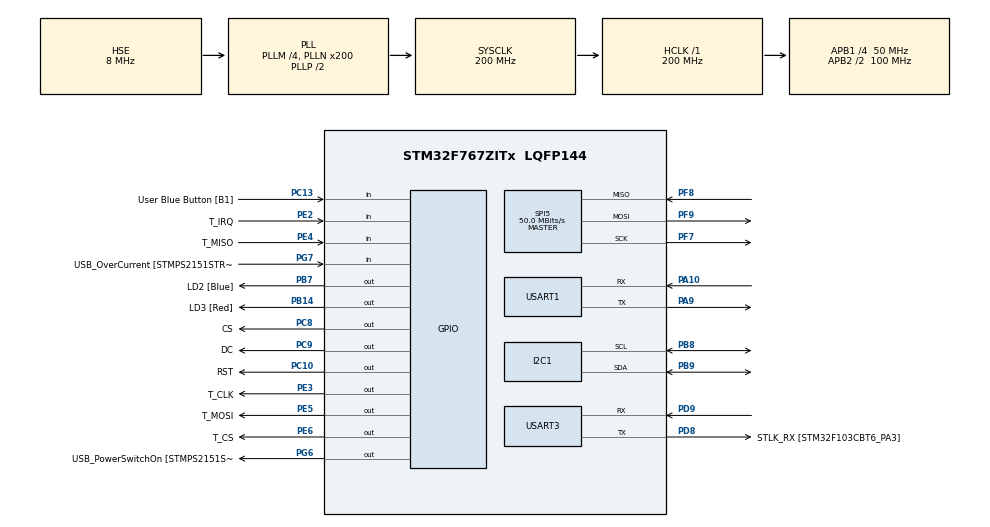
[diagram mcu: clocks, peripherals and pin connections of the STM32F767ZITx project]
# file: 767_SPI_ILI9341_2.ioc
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CORTEX_M7.ART_ACCLERATOR_ENABLE=1
CORTEX_M7.CPU_DCache=Enabled
CORTEX_M7.CPU_ICache=Enabled
CORTEX_M7.PREFETCH_ENABLE=1
I2C1.Timing=0x00C0EAFF
Mcu.Family=STM32F7
Mcu.Name=STM32F767ZITx
Mcu.Package=LQFP144
NVIC.PriorityGroup=NVIC_PRIORITYGROUP_4
NVIC.TIM3_IRQn=true\:0\:0\:true\:false\:true\:true\:true\:true
PA1.GPIO_Label=RMII_REF_CLK [LAN8742A-CZ-TR_REFCLK0]
PA1.Signal=ETH_REF_CLK
PA10.Mode=Asynchronous
PA10.Signal=USART1_RX
PA13.GPIO_Label=TMS
PA13.Mode=Serial_Wire
PA13.Signal=SYS_JTMS-SWDIO
PA14.GPIO_Label=TCK
PA14.Mode=Serial_Wire
PA14.Signal=SYS_JTCK-SWCLK
PA2.GPIO_Label=RMII_MDIO [LAN8742A-CZ-TR_MDIO]
PA2.Signal=ETH_MDIO
PA7.GPIO_Label=RMII_CRS_DV [LAN8742A-CZ-TR_CRS_DV]
PA7.Signal=ETH_CRS_DV
PA9.Mode=Asynchronous
PA9.Signal=USART1_TX
PB13.GPIO_Label=RMII_TXD1 [LAN8742A-CZ-TR_TXD1]
PB13.Signal=ETH_TXD1
PB14.GPIO_Label=LD3 [Red]
PB14.Signal=GPIO_Output
PB3.GPIO_Label=SWO
PB3.Signal=SYS_JTDO-SWO
PB4.Signal=S_TIM3_CH1
PB7.GPIO_Label=LD2 [Blue]
PB7.Signal=GPIO_Output
PB8.Mode=I2C
PB8.Signal=I2C1_SCL
PB9.Mode=I2C
PB9.Signal=I2C1_SDA
PC1.GPIO_Label=RMII_MDC [LAN8742A-CZ-TR_MDC]
PC1.Signal=ETH_MDC
PC10.GPIO_Label=RST
PC10.GPIO_Speed=GPIO_SPEED_FREQ_VERY_HIGH
PC10.Signal=GPIO_Output
PC13.GPIO_Label=User Blue Button [B1]
PC13.Signal=GPIO_Input
PC14/OSC32_IN.Mode=LSE-External-Oscillator
PC14/OSC32_IN.Signal=RCC_OSC32_IN
PC15/OSC32_OUT.Mode=LSE-External-Oscillator
PC15/OSC32_OUT.Signal=RCC_OSC32_OUT
PC4.GPIO_Label=RMII_RXD0 [LAN8742A-CZ-TR_RXD0]
PC4.Signal=ETH_RXD0
PC5.GPIO_Label=RMII_RXD1 [LAN8742A-CZ-TR_RXD1]
PC5.Signal=ETH_RXD1
PC8.GPIO_Label=CS
PC8.GPIO_Speed=GPIO_SPEED_FREQ_VERY_HIGH
PC8.Signal=GPIO_Output
PC9.GPIO_Label=DC
PC9.GPIO_Speed=GPIO_SPEED_FREQ_VERY_HIGH
PC9.Signal=GPIO_Output
PD0.Signal=UART4_RX
PD1.Signal=UART4_TX
PD8.GPIO_Label=STLK_RX [STM32F103CBT6_PA3]
PD8.Mode=Asynchronous
PD8.Signal=USART3_TX
PD9.Mode=Asynchronous
PD9.Signal=USART3_RX
PE2.GPIO_Label=T_IRQ
PE2.Signal=GPIO_Input
PE3.GPIO_Label=T_CLK
PE3.GPIO_Speed=GPIO_SPEED_FREQ_VERY_HIGH
PE3.Signal=GPIO_Output
PE4.GPIO_Label=T_MISO
PE4.Signal=GPIO_Input
PE5.GPIO_Label=T_MOSI
PE5.GPIO_Speed=GPIO_SPEED_FREQ_VERY_HIGH
PE5.Signal=GPIO_Output
PE6.GPIO_Label=T_CS
PE6.GPIO_Speed=GPIO_SPEED_FREQ_VERY_HIGH
PE6.Signal=GPIO_Output
PF7.Mode=Full_Duplex_Master
PF7.Signal=SPI5_SCK
PF8.Mode=Full_Duplex_Master
PF8.Signal=SPI5_MISO
PF9.Mode=Full_Duplex_Master
PF9.Signal=SPI5_MOSI
PG11.GPIO_Label=RMII_TX_EN [LAN8742A-CZ-TR_TXEN]
PG11.Signal=ETH_TX_EN
PG13.GPIO_Label=RMII_TXD0 [LAN8742A-CZ-TR_TXD0]
PG13.Signal=ETH_TXD0
PG6.GPIO_Label=USB_PowerSwitchOn [STMPS2151STR_EN]
PG6.Signal=GPIO_Output
PG7.GPIO_Label=USB_OverCurrent [STMPS2151STR_FAULT]
PG7.Signal=GPIO_Input
PH0/OSC_IN.GPIO_Label=MCO [STM32F103CBT6_PA8]
PH0/OSC_IN.Mode=HSE-External-Clock-Source
PH0/OSC_IN.Signal=RCC_OSC_IN
PH1/OSC_OUT.Mode=HSE-External-Clock-Source
PH1/OSC_OUT.Signal=RCC_OSC_OUT
ProjectManager.HeapSize=0x200
ProjectManager.StackSize=0x400
ProjectManager.TargetToolchain=STM32CubeIDE
RCC.48MHZClocksFreq_Value=24000000
RCC.AHBFreq_Value=200000000
RCC.APB1CLKDivider=RCC_HCLK_DIV4
RCC.APB1Freq_Value=50000000
RCC.APB1TimFreq_Value=100000000
RCC.APB2CLKDivider=RCC_HCLK_DIV2
RCC.APB2Freq_Value=100000000
RCC.APB2TimFreq_Value=200000000
RCC.CortexFreq_Value=200000000
RCC.HCLKFreq_Value=200000000
RCC.HSE_VALUE=8000000
RCC.HSI_VALUE=16000000
RCC.PLLM=4
RCC.PLLMUL=RCC_PLL_MUL9
RCC.PLLN=200
RCC.PLLQ=9
RCC.PLLSourceVirtual=RCC_PLLSOURCE_HSE
RCC.PRESCALERUSB=RCC_USBCLKSOURCE_PLL_DIV1_5
RCC.SYSCLKFreq_VALUE=200000000
RCC.SYSCLKSource=RCC_SYSCLKSOURCE_PLLCLK
RCC.SYSCLKSourceVirtual=RCC_SYSCLKSOURCE_PLLCLK
RCC.USBFreq_Value=44444444.44444445
RCC.VCOOutputFreq_Value=400000000
SH.S_TIM3_CH1.0=TIM3_CH1
SPI5.CalculateBaudRate=50.0 MBits/s
SPI5.DataSize=SPI_DATASIZE_8BIT
SPI5.Direction=SPI_DIRECTION_2LINES
SPI5.Mode=SPI_MODE_MASTER
SPI5.NSSPMode=SPI_NSS_PULSE_DISABLE
SPI5.VirtualType=VM_MASTER
TIM1.ClockDivision=TIM_CLOCKDIVISION_DIV2
TIM1.Period=0
TIM1.Prescaler=10000-1
TIM2.Period=60000
TIM2.Prescaler=7200
TIM3.Period=60000
TIM3.Prescaler=7200
USART1.VirtualMode-Asynchronous=VM_ASYNC
USART3.VirtualMode-Asynchronous=VM_ASYNC
VP_RNG_VS_RNG.Mode=RNG_Activate
VP_TIM1_VS_ClockSourceINT.Mode=Internal
VP_TIM2_VS_ClockSourceINT.Mode=Internal
VP_TIM3_VS_ClockSourceINT.Mode=Internal
board=NUCLEO-F767ZI

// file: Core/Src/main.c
/* USER CODE BEGIN Header */
/**
 ******************************************************************************
 * @file           : main.c
 * @brief          : Main program body
 ******************************************************************************
 * @attention
 *
 * Copyright (c) 2024 STMicroelectronics.
 * All rights reserved.
 *
 * This software is licensed under terms that can be found in the LICENSE file
 * in the root directory of this software component.
 * If no LICENSE file comes with this software, it is provided AS-IS.
 *
 ******************************************************************************
 */
/* USER CODE END Header */
#include "main.h"
#include "i2c.h"
#include "rng.h"
#include "spi.h"
#include "tim.h"
#include "usart.h"
#include "gpio.h"

/* USER CODE BEGIN Includes */
#include "stdio.h"
#include "string.h"
#include "ILI9341_Touchscreen.h"
#include "am2030.h"
#include "ILI9341_STM32_Driver.h"
#include "ILI9341_GFX.h"

#include "group.h"
/* USER CODE END Includes */

/* USER CODE BEGIN PV */
uint8_t redVal = 0;
uint8_t greenVal = 0;
uint8_t blueVal = 0;
uint8_t redDecimal = 0;
uint8_t blueDecimal = 0;
uint8_t greenDecimal = 0;
uint8_t someVal = 0;
uint16_t h = 0; //color up to chart
char someValToString[50] = "";
char redPercent[50] = "";
char greenPercent[50] = "";
char bluePercent[50] = "";
uint16_t result = 0;
char resultHex[100] = "";
uint8_t onPage = 0;
uint8_t isRenderImage = 0;
uint8_t step = 0;
HAL_StatusTypeDef status;

/* Private variables ---------------------------------------------------------*/

/* USER CODE END PV */

void SystemClock_Config(void);
/* USER CODE BEGIN PFP */
/* Private function prototypes -----------------------------------------------*/

uint16_t CRC16_2(uint8_t *ptr, uint8_t length) {
	uint16_t crc = 0xFFFF;
	uint8_t s = 0x00;
	while (length--) {
		crc ^= *ptr++;
		for (s = 0; s < 8; s++) {
			if ((crc & 0x01) != 0) {
				crc >>= 1;
				crc ^= 0xA001;
			} else
				crc >>= 1;
		}
	}

	return crc;
}
/* USER CODE END PFP */

/* USER CODE BEGIN 0 */
uint16_t rgb888_to_rgb565(uint8_t red8, uint8_t green8, uint8_t blue8) {
// Convert 8-bit red to 5-bit red.
	uint8_t red5 = (uint8_t) ((red8 / 255.0) * 31);
// Convert 8-bit green to 6-bit green.
	uint8_t green6 = (uint8_t) ((green8 / 255.0) * 63);
// Convert 8-bit blue to 5-bit blue.
	uint8_t blue5 = (uint8_t) ((blue8 / 255.0) * 31);

// Shift the red value to the left by 11 bits.
	uint16_t red5_shifted = (uint16_t) (red5) << 11;
// Shift the green value to the left by 5 bits.
	uint16_t green6_shifted = (uint16_t) (green6) << 5;

// Combine the red, green, and blue values.
	uint16_t rgb565 = red5_shifted | green6_shifted | blue5;

	return rgb565;
}

void vprint(const char *fmt, va_list argp) {
	char string[200];
	if (0 < vsprintf(string, fmt, argp)) // build string
			{
		HAL_UART_Transmit(&huart3, (uint8_t*) string, strlen(string), 0xffffff); // send message via UART
	}
}

void my_printf(const char *fmt, ...) // custom printf() function
{
	va_list argp;
	va_start(argp, fmt);
	vprint(fmt, argp);
	va_end(argp);
}
/* USER CODE END 0 */

int main(void) {
	/* USER CODE BEGIN 1 */
	char str[100];
	uint8_t cmdBuffer[3];
	uint8_t dataBuffer[8];
	char humidVal[100];
	char tempVal[100];
	/* USER CODE END 1 */
	/* Enable the CPU Cache */

	/* Enable I-Cache---------------------------------------------------------*/
	SCB_EnableICache();

	/* Enable D-Cache---------------------------------------------------------*/
	SCB_EnableDCache();

	/* MCU Configuration--------------------------------------------------------*/

	/* Reset of all peripherals, Initializes the Flash interface and the Systick. */
	HAL_Init();

	/* Configure the system clock */
	SystemClock_Config();

	/* Initialize all configured peripherals */
	MX_GPIO_Init();
	MX_SPI5_Init();
	MX_TIM1_Init();
	MX_RNG_Init();
	MX_TIM2_Init();
	MX_TIM3_Init();
	MX_I2C1_Init();
	MX_USART3_UART_Init();
	MX_USART1_UART_Init();
	/* USER CODE BEGIN 2 */
	cmdBuffer[0] = 0x03;
	cmdBuffer[1] = 0x00;
	cmdBuffer[2] = 0x04;

	ILI9341_Init(); //initial driver setup to drive ili9341
	Am2320_HandleTypeDef Am2320_;
	Am2320_ = am2320_Init(&hi2c1,  0x01 << 1);
	float temperature, humidity;
	/* USER CODE END 2 */

	/* Infinite loop */
	while (1) {

		/* USER CODE BEGIN 3 */
		//Send Temp & Humid via UART2
		//Wake up sensor

		if (onPage == 0) {
			ILI9341_Fill_Screen(WHITE);
			onPage = 2;
		}
		am2320_GetTemperatureAndHumidity(&Am2320_, &temperature, &humidity);
		ILI9341_Set_Rotation(SCREEN_HORIZONTAL_1);
		sprintf(tempVal, "%.1f C", temperature);
		sprintf(humidVal, "%.1f%%RH", humidity);
		ILI9341_Draw_Text(tempVal, 30, 30, BLACK, 2, WHITE);
		ILI9341_Draw_Text(humidVal, 180, 30, BLACK, 2, WHITE);
		ILI9341_Draw_Filled_Circle(160, 30, 15, h); // x , y , r ,color
		ILI9341_Draw_Filled_Circle(30, 80, 15, 0XF800);
		ILI9341_Draw_Rectangle(50, 70, 100, 20, 0XF81F); //x , y , lx, ly ,color
		if (redVal <= 10) {
			ILI9341_Draw_Rectangle(50, 70, redVal * 10, 20, 0XF800); //x , y , lx, ly ,color
			sprintf(redPercent, "%d%%    ", redVal * 10);
			ILI9341_Draw_Text(redPercent, 180, 70, BLACK, 2, WHITE);

		}
		////////////////////////////////////green///////////////////////////////////
		ILI9341_Draw_Filled_Circle(30, 130, 15, 0X07E0);
		ILI9341_Draw_Rectangle(50, 120, 100, 20, 0XC618); //x , y , lx, ly ,color
		if (greenVal <= 10) {
			ILI9341_Draw_Rectangle(50, 120, greenVal * 10, 20, 0X07E0);	//x , y , lx, ly ,color
			sprintf(greenPercent, "%d%%    ", greenVal * 10);
			ILI9341_Draw_Text(greenPercent, 180, 120, BLACK, 2, WHITE);

		}
		////////////////////////////////////blue///////////////////////////////////
		ILI9341_Draw_Filled_Circle(30, 180, 15, 0X001F);
		ILI9341_Draw_Rectangle(50, 170, 100, 20, 0X07FF);//x , y , lx, ly ,color
		if (blueVal <= 10) {
			ILI9341_Draw_Rectangle(50, 170, blueVal * 10, 20, 0X001F);//x , y , lx, ly ,color
			sprintf(bluePercent, "%d%%    ", blueVal * 10);
			ILI9341_Draw_Text(bluePercent, 180, 170, BLACK, 2, WHITE);
			sprintf(someValToString, "%d", blueDecimal);

		}

		result = rgb888_to_rgb565(redDecimal, greenDecimal, blueDecimal);
		sprintf(resultHex, "0X%04X", result);
		ILI9341_Draw_Text(resultHex, 180, 210, BLACK, 2, WHITE);
		sscanf(resultHex, "%x", &h);
		ILI9341_Set_Rotation(SCREEN_HORIZONTAL_1);
		ILI9341_Set_Rotation(SCREEN_VERTICAL_1);
		if (TP_Touchpad_Pressed()) {

			uint16_t x_pos = 0;
			uint16_t y_pos = 0;

			HAL_GPIO_WritePin(GPIOB, LD3_Pin | LD2_Pin, GPIO_PIN_SET);

			uint16_t position_array[2];

			if (TP_Read_Coordinates(position_array) == TOUCHPAD_DATA_OK) {
				x_pos = position_array[0];
				y_pos = position_array[1];
				if ((x_pos >= 146 && x_pos <= 170)
						&& (y_pos >= 6 && y_pos <= 34))	//RedCheck
						{
					redVal += 1;
					redDecimal += 25;
					if (redVal == 11) {
						redVal = 0;
						redDecimal = 0;
					}
				} else if ((x_pos >= 90 && x_pos <= 119)
						&& (y_pos >= 9 && y_pos <= 60))	//GreenCheck
						{
					greenVal += 1;
					greenDecimal += 25;
					if (greenVal == 11) {
						greenVal = 0;
						greenDecimal = 0;
					}
				} else if ((x_pos >= 44 && x_pos <= 69)
						&& (y_pos >= 9 && y_pos <= 42))	//GreenCheck
						{
					blueVal += 1;
					blueDecimal += 25;
					if (blueVal == 11) {
						blueVal = 0;
						blueDecimal = 0;
					}
				} else if ((x_pos >= 200 && x_pos <= 231)
						&& (y_pos >= 145 && y_pos <= 176))	//Center Top
						{
					isRenderImage = 0;
					onPage = 1;
				}
				ILI9341_Draw_Filled_Circle(x_pos, y_pos, 2, BLACK);
				ILI9341_Set_Rotation(SCREEN_HORIZONTAL_1);
				ILI9341_Set_Rotation(SCREEN_VERTICAL_1);
			}

		} else {
			HAL_GPIO_WritePin(GPIOB, LD3_Pin | LD2_Pin, GPIO_PIN_RESET);
		}
		while (onPage == 1) {
			if (isRenderImage == 0) {
				HAL_TIM_Base_Start_IT(&htim3);
				ILI9341_Fill_Screen(WHITE);
				ILI9341_Draw_Image((const char*) image_data_Image,
				SCREEN_HORIZONTAL_1);
				isRenderImage = 1;

			}
			ILI9341_Set_Rotation(SCREEN_HORIZONTAL_1);
			ILI9341_Draw_Text("Group No.19", 135, 40, h, 2, WHITE);
			ILI9341_Draw_Text("Arin 1063", 135, 80, h, 2, WHITE);
			ILI9341_Draw_Text("Peet 1052", 135, 120, h, 2, WHITE);
			ILI9341_Draw_Text("pond 1050", 135, 160, h, 2, WHITE);
			ILI9341_Set_Rotation(SCREEN_HORIZONTAL_1);
			if (TP_Touchpad_Pressed()) {

				uint16_t x_pos = 0;
				uint16_t y_pos = 0;
				uint16_t position_array[2];
				if (TP_Read_Coordinates(position_array) == TOUCHPAD_DATA_OK) {
					x_pos = position_array[0];
					y_pos = position_array[1];
					if ((x_pos >= 83 && x_pos <= 178)
							&& (y_pos >= 8 && y_pos <= 99))	//IMG check
							{
						onPage = 0;
					}

				}
			}
		}
		HAL_TIM_Base_Stop_IT(&htim3);
	}
	/* USER CODE END 3 */
}

void SystemClock_Config(void) {
	RCC_OscInitTypeDef RCC_OscInitStruct = { 0 };
	RCC_ClkInitTypeDef RCC_ClkInitStruct = { 0 };

	/** Configure LSE Drive Capability
	 */
	HAL_PWR_EnableBkUpAccess();

	/** Configure the main internal regulator output voltage
	 */
	__HAL_RCC_PWR_CLK_ENABLE();
	__HAL_PWR_VOLTAGESCALING_CONFIG(PWR_REGULATOR_VOLTAGE_SCALE1);

	/** Initializes the RCC Oscillators according to the specified parameters
	 * in the RCC_OscInitTypeDef structure.
	 */
	RCC_OscInitStruct.OscillatorType = RCC_OSCILLATORTYPE_HSE;
	RCC_OscInitStruct.HSEState = RCC_HSE_BYPASS;
	RCC_OscInitStruct.PLL.PLLState = RCC_PLL_ON;
	RCC_OscInitStruct.PLL.PLLSource = RCC_PLLSOURCE_HSE;
	RCC_OscInitStruct.PLL.PLLM = 4;
	RCC_OscInitStruct.PLL.PLLN = 200;
	RCC_OscInitStruct.PLL.PLLP = RCC_PLLP_DIV2;
	RCC_OscInitStruct.PLL.PLLQ = 9;
	RCC_OscInitStruct.PLL.PLLR = 2;
	if (HAL_RCC_OscConfig(&RCC_OscInitStruct) != HAL_OK) {
		Error_Handler();
	}

	/** Activate the Over-Drive mode
	 */
	if (HAL_PWREx_EnableOverDrive() != HAL_OK) {
		Error_Handler();
	}

	/** Initializes the CPU, AHB and APB buses clocks
	 */
	RCC_ClkInitStruct.ClockType = RCC_CLOCKTYPE_HCLK | RCC_CLOCKTYPE_SYSCLK
			| RCC_CLOCKTYPE_PCLK1 | RCC_CLOCKTYPE_PCLK2;
	RCC_ClkInitStruct.SYSCLKSource = RCC_SYSCLKSOURCE_PLLCLK;
	RCC_ClkInitStruct.AHBCLKDivider = RCC_SYSCLK_DIV1;
	RCC_ClkInitStruct.APB1CLKDivider = RCC_HCLK_DIV4;
	RCC_ClkInitStruct.APB2CLKDivider = RCC_HCLK_DIV2;

	if (HAL_RCC_ClockConfig(&RCC_ClkInitStruct, FLASH_LATENCY_6) != HAL_OK) {
		Error_Handler();
	}
}

void Error_Handler(void) {
	while (1) {
	}
}
